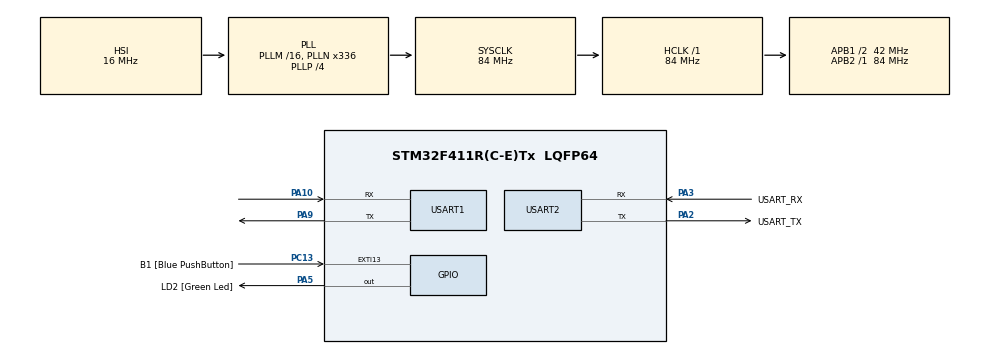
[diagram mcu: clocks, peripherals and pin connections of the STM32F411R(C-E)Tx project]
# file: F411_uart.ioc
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Mcu.Family=STM32F4
Mcu.Name=STM32F411R(C-E)Tx
Mcu.Package=LQFP64
NVIC.PriorityGroup=NVIC_PRIORITYGROUP_0
NVIC.USART1_IRQn=true\:0\:0\:false\:false\:true\:true\:true\:true
NVIC.USART2_IRQn=true\:0\:0\:false\:false\:true\:true\:true\:true
PA10.Mode=Asynchronous
PA10.Signal=USART1_RX
PA13.GPIO_Label=TMS
PA13.Mode=Serial_Wire
PA13.Signal=SYS_JTMS-SWDIO
PA14.GPIO_Label=TCK
PA14.Mode=Serial_Wire
PA14.Signal=SYS_JTCK-SWCLK
PA2.GPIO_Label=USART_TX
PA2.Mode=Asynchronous
PA2.Signal=USART2_TX
PA3.GPIO_Label=USART_RX
PA3.Mode=Asynchronous
PA3.Signal=USART2_RX
PA5.GPIO_Label=LD2 [Green Led]
PA5.Signal=GPIO_Output
PA9.Mode=Asynchronous
PA9.Signal=USART1_TX
PB3.GPIO_Label=SWO
PB3.Signal=SYS_JTDO-SWO
PC13-ANTI_TAMP.GPIO_Label=B1 [Blue PushButton]
PC13-ANTI_TAMP.GPIO_ModeDefaultEXTI=GPIO_MODE_IT_FALLING
PC13-ANTI_TAMP.Signal=GPXTI13
PC14-OSC32_IN.Mode=LSE-External-Oscillator
PC14-OSC32_IN.Signal=RCC_OSC32_IN
PC15-OSC32_OUT.Mode=LSE-External-Oscillator
PC15-OSC32_OUT.Signal=RCC_OSC32_OUT
PH0\ -\ OSC_IN.Mode=HSE-External-Clock-Source
PH0\ -\ OSC_IN.Signal=RCC_OSC_IN
PH1\ -\ OSC_OUT.Mode=HSE-External-Clock-Source
PH1\ -\ OSC_OUT.Signal=RCC_OSC_OUT
ProjectManager.HeapSize=0x200
ProjectManager.StackSize=0x400
ProjectManager.TargetToolchain=STM32CubeIDE
RCC.48MHZClocksFreq_Value=84000000
RCC.AHBFreq_Value=84000000
RCC.APB1CLKDivider=RCC_HCLK_DIV2
RCC.APB1Freq_Value=42000000
RCC.APB1TimFreq_Value=84000000
RCC.APB2Freq_Value=84000000
RCC.APB2TimFreq_Value=84000000
RCC.CortexFreq_Value=84000000
RCC.FLatency-AdvancedSettings=FLASH_LATENCY_2
RCC.HCLKFreq_Value=84000000
RCC.HSE_VALUE=8000000
RCC.HSI_VALUE=16000000
RCC.PLLN=336
RCC.PLLP=RCC_PLLP_DIV4
RCC.SYSCLKFreq_VALUE=84000000
RCC.SYSCLKSource=RCC_SYSCLKSOURCE_PLLCLK
RCC.VCOOutputFreq_Value=336000000
USART1.VirtualMode=VM_ASYNC
USART2.VirtualMode=VM_ASYNC
board=NUCLEO-F411RE

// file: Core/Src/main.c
/* USER CODE BEGIN Header */
/**
  ******************************************************************************
  * @file           : main.c
  * @brief          : Main program body
  ******************************************************************************
  * @attention
  *
  * Copyright (c) 2025 STMicroelectronics.
  * All rights reserved.
  *
  * This software is licensed under terms that can be found in the LICENSE file
  * in the root directory of this software component.
  * If no LICENSE file comes with this software, it is provided AS-IS.
  *
  ******************************************************************************
  */
/* USER CODE END Header */
#include "main.h"

/* USER CODE BEGIN Includes */
#include <stdio.h>
#include <string.h>
/* USER CODE END Includes */

/* USER CODE BEGIN PD */
/* ex2 파라미터
#define MAX_BUFFER_SIZE   128
uint8_t rx_data;
uint8_t rx_buffer[MAX_BUFFER_SIZE];
uint16_t rx_index = 0;

#define KEY_ENTER       '\r'
#define KEY_BACKSPACE   '\b'
#define KEY_DELETE      127

const uint8_t prompt[] = "NUCLEO-F411re >> ";
const uint8_t newline[] = "\r\n";
const uint8_t backspace_seq[] = "\b \b";
*/

#define MAX_BUFFER_SIZE 128
#define KEY_ENTER       '\r'
#define KEY_BACKSPACE   '\b'
#define KEY_DELETE      127
/* USER CODE END PD */

UART_HandleTypeDef huart1;
UART_HandleTypeDef huart2;

/* USER CODE BEGIN PV */
uint8_t rx_data[1];

// PC(USART2)로부터의 입력을 처리하기 위한 변수
uint8_t rx_data_pc;
uint8_t pc_rx_buffer[MAX_BUFFER_SIZE];
uint16_t pc_rx_index = 0;

// 다른 보드(USART1)로부터의 입력을 처리하기 위한 변수
uint8_t rx_data_board;
uint8_t board_rx_buffer[MAX_BUFFER_SIZE];
uint16_t board_rx_index = 0;
/* USER CODE END PV */

void SystemClock_Config(void);
static void MX_GPIO_Init(void);
static void MX_USART2_UART_Init(void);
static void MX_USART1_UART_Init(void);
/* USER CODE BEGIN PFP */
/* ex3
void HAL_UART_RxCpltCallback(UART_HandleTypeDef *huart);
int __io_putchar(int ch) {
    HAL_UART_Transmit(&huart2, (uint8_t *)&ch, 1, HAL_MAX_DELAY);
    return ch;
}
*/
#ifdef __GNUC__
#define PUTCHAR_PROTOTYPE int __io_putchar(int ch)
#else
#define PUTCHAR_PROTOTYPE int fputc(int ch, FILE *f)
#endif
/* USER CODE END PFP */

int main(void)
{

  /* MCU Configuration--------------------------------------------------------*/

  /* Reset of all peripherals, Initializes the Flash interface and the Systick. */
  HAL_Init();

  /* Configure the system clock */
  SystemClock_Config();

  /* Initialize all configured peripherals */
  MX_GPIO_Init();
  MX_USART2_UART_Init();
  MX_USART1_UART_Init();
  /* USER CODE BEGIN 2 */
  /* ex2 코드
  HAL_UART_Transmit(&huart2, prompt, sizeof(prompt), HAL_MAX_DELAY);
  */

  /* ex3 코드
  printf("\r\n--- Nucleo F411re LED Control ---\r\n");
  printf("  '1': Turn on LED\r\n");
  printf("  '2': Turn off LED\r\n");
  printf("----------------------------------\r\n");

  HAL_UART_Receive_IT(&huart2, rx_data, 1);
  */

  // PC 터미널(USART2)로 프롬프트 출력
  printf(">> ");
  // ★★★ 핵심 수정: 맨 처음 프롬프트가 바로 보이도록 버퍼를 비웁니다.
  fflush(stdout);

  // 각 UART 채널에 대해 수신 인터럽트 시작
  HAL_UART_Receive_IT(&huart2, &rx_data_pc, 1);
  HAL_UART_Receive_IT(&huart1, &rx_data_board, 1);

  /* USER CODE END 2 */

  /* Infinite loop */
  while (1)
  {

    /* USER CODE BEGIN 3 */
	  /* ex1 시작
	  printf("Hello from F411re!\r\n");
	  HAL_Delay(1000);
	  ex1 끝 */

	  /* ex2 시작
	  if (HAL_UART_Receive(&huart2, &rx_data, 1, HAL_MAX_DELAY) == HAL_OK)
	  {
		  // 1. 엔터 키 처리
	      if (rx_data == KEY_ENTER)
	      {
              HAL_UART_Transmit(&huart2, newline, sizeof(newline), HAL_MAX_DELAY);

	          // 수신된 문자열 다시 전송
	          HAL_UART_Transmit(&huart2, (uint8_t*)"Received: ", 10, HAL_MAX_DELAY);
	          HAL_UART_Transmit(&huart2, rx_buffer, rx_index, HAL_MAX_DELAY);
	          HAL_UART_Transmit(&huart2, newline, sizeof(newline), HAL_MAX_DELAY);

	          // 버퍼 초기화
	          memset(rx_buffer, 0, MAX_BUFFER_SIZE);
	          rx_index = 0;

	          // 프롬프트 출력
	          HAL_UART_Transmit(&huart2, prompt, sizeof(prompt), HAL_MAX_DELAY);
	      }
	      // 2. 백스페이스/Delete 처리
	      else if (rx_data == KEY_BACKSPACE || rx_data == KEY_DELETE)
	      {
	          if (rx_index > 0)
	          {
	              rx_index--;
	              HAL_UART_Transmit(&huart2, backspace_seq, sizeof(backspace_seq), HAL_MAX_DELAY);
	          }
	      }
	      // 3. 일반 문자 처리
	      else
	      {
	          if (rx_index < MAX_BUFFER_SIZE - 1)
	          {
	              rx_buffer[rx_index++] = rx_data;
	              HAL_UART_Transmit(&huart2, &rx_data, 1, HAL_MAX_DELAY);
	          }
	      }
	  }
	  ex2 끝 */
  }
  /* USER CODE END 3 */
}

void SystemClock_Config(void)
{
  RCC_OscInitTypeDef RCC_OscInitStruct = {0};
  RCC_ClkInitTypeDef RCC_ClkInitStruct = {0};

  /** Configure the main internal regulator output voltage
  */
  __HAL_RCC_PWR_CLK_ENABLE();
  __HAL_PWR_VOLTAGESCALING_CONFIG(PWR_REGULATOR_VOLTAGE_SCALE1);

  /** Initializes the RCC Oscillators according to the specified parameters
  * in the RCC_OscInitTypeDef structure.
  */
  RCC_OscInitStruct.OscillatorType = RCC_OSCILLATORTYPE_HSI;
  RCC_OscInitStruct.HSIState = RCC_HSI_ON;
  RCC_OscInitStruct.HSICalibrationValue = RCC_HSICALIBRATION_DEFAULT;
  RCC_OscInitStruct.PLL.PLLState = RCC_PLL_ON;
  RCC_OscInitStruct.PLL.PLLSource = RCC_PLLSOURCE_HSI;
  RCC_OscInitStruct.PLL.PLLM = 16;
  RCC_OscInitStruct.PLL.PLLN = 336;
  RCC_OscInitStruct.PLL.PLLP = RCC_PLLP_DIV4;
  RCC_OscInitStruct.PLL.PLLQ = 4;
  if (HAL_RCC_OscConfig(&RCC_OscInitStruct) != HAL_OK)
  {
    Error_Handler();
  }

  /** Initializes the CPU, AHB and APB buses clocks
  */
  RCC_ClkInitStruct.ClockType = RCC_CLOCKTYPE_HCLK|RCC_CLOCKTYPE_SYSCLK
                              |RCC_CLOCKTYPE_PCLK1|RCC_CLOCKTYPE_PCLK2;
  RCC_ClkInitStruct.SYSCLKSource = RCC_SYSCLKSOURCE_PLLCLK;
  RCC_ClkInitStruct.AHBCLKDivider = RCC_SYSCLK_DIV1;
  RCC_ClkInitStruct.APB1CLKDivider = RCC_HCLK_DIV2;
  RCC_ClkInitStruct.APB2CLKDivider = RCC_HCLK_DIV1;

  if (HAL_RCC_ClockConfig(&RCC_ClkInitStruct, FLASH_LATENCY_2) != HAL_OK)
  {
    Error_Handler();
  }
}

static void MX_USART1_UART_Init(void)
{

  huart1.Instance = USART1;
  huart1.Init.BaudRate = 115200;
  huart1.Init.WordLength = UART_WORDLENGTH_8B;
  huart1.Init.StopBits = UART_STOPBITS_1;
  huart1.Init.Parity = UART_PARITY_NONE;
  huart1.Init.Mode = UART_MODE_TX_RX;
  huart1.Init.HwFlowCtl = UART_HWCONTROL_NONE;
  huart1.Init.OverSampling = UART_OVERSAMPLING_16;
  if (HAL_UART_Init(&huart1) != HAL_OK)
  {
    Error_Handler();
  }

}

static void MX_USART2_UART_Init(void)
{

  huart2.Instance = USART2;
  huart2.Init.BaudRate = 115200;
  huart2.Init.WordLength = UART_WORDLENGTH_8B;
  huart2.Init.StopBits = UART_STOPBITS_1;
  huart2.Init.Parity = UART_PARITY_NONE;
  huart2.Init.Mode = UART_MODE_TX_RX;
  huart2.Init.HwFlowCtl = UART_HWCONTROL_NONE;
  huart2.Init.OverSampling = UART_OVERSAMPLING_16;
  if (HAL_UART_Init(&huart2) != HAL_OK)
  {
    Error_Handler();
  }

}

static void MX_GPIO_Init(void)
{
  GPIO_InitTypeDef GPIO_InitStruct = {0};

  /* GPIO Ports Clock Enable */
  __HAL_RCC_GPIOC_CLK_ENABLE();
  __HAL_RCC_GPIOH_CLK_ENABLE();
  __HAL_RCC_GPIOA_CLK_ENABLE();
  __HAL_RCC_GPIOB_CLK_ENABLE();

  /*Configure GPIO pin Output Level */
  HAL_GPIO_WritePin(LD2_GPIO_Port, LD2_Pin, GPIO_PIN_RESET);

  /*Configure GPIO pin : B1_Pin */
  GPIO_InitStruct.Pin = B1_Pin;
  GPIO_InitStruct.Mode = GPIO_MODE_IT_FALLING;
  GPIO_InitStruct.Pull = GPIO_NOPULL;
  HAL_GPIO_Init(B1_GPIO_Port, &GPIO_InitStruct);

  /*Configure GPIO pin : LD2_Pin */
  GPIO_InitStruct.Pin = LD2_Pin;
  GPIO_InitStruct.Mode = GPIO_MODE_OUTPUT_PP;
  GPIO_InitStruct.Pull = GPIO_NOPULL;
  GPIO_InitStruct.Speed = GPIO_SPEED_FREQ_LOW;
  HAL_GPIO_Init(LD2_GPIO_Port, &GPIO_InitStruct);

}

/* USER CODE BEGIN 4 */
// ex1-printf 함수의 출력을 USART2으로 재지정하는 함수입니다.
int _write(int file, char *ptr, int len)
{
  HAL_UART_Transmit(&huart2, (uint8_t*)ptr, len, HAL_MAX_DELAY);
  return len;
}

/* ex3-인터럽트 콜백함수
void HAL_UART_RxCpltCallback(UART_HandleTypeDef *huart)
{

    if (huart->Instance == USART2)
    {
      if (rx_data[0] == '1')
      {
        HAL_GPIO_WritePin(GPIOA, GPIO_PIN_5, GPIO_PIN_SET);
        printf("✅ LED is now ON.\r\n");
      }
      else if (rx_data[0] == '2')
      {
        HAL_GPIO_WritePin(GPIOA, GPIO_PIN_5, GPIO_PIN_RESET);
        printf("❌ LED is now OFF.\r\n");
      }
      else
      {
        printf("⚠️ Invalid input. Please enter '1' or '2'.\r\n");
      }

      HAL_UART_Receive_IT(&huart2, rx_data, 1);
    }
}
*/

/**
  * @brief  printf 함수 재정의
  */
PUTCHAR_PROTOTYPE
{
  HAL_UART_Transmit(&huart2, (uint8_t *)&ch, 1, HAL_MAX_DELAY);
  return ch;
}

void HAL_UART_RxCpltCallback(UART_HandleTypeDef *huart)
{
    // --- 경로 1: PC 터미널(USART2)로부터 명령어를 '입력'받는 경우 ---
    if (huart->Instance == USART2)
    {
        // 1-1. 엔터 키 처리
        if (rx_data_pc == KEY_ENTER)
        {
            if (pc_rx_index > 0)
            {
                // 다른 보드(USART3)로 완성된 명령어(버퍼 내용) 전송
                HAL_UART_Transmit(&huart1, pc_rx_buffer, pc_rx_index, HAL_MAX_DELAY);
                // 명령어 끝을 알리기 위해 newline 전송
                HAL_UART_Transmit(&huart1, (uint8_t*)"\r\n", 2, HAL_MAX_DELAY);
            }
            // 로컬 터미널 줄바꿈 및 버퍼 초기화
            printf("\r\n");
            memset(pc_rx_buffer, 0, MAX_BUFFER_SIZE);
            pc_rx_index = 0;
            // 프롬프트 재출력
            printf(">> ");
            fflush(stdout); // 프롬프트도 바로 보이게 하기 위해 추가
        }
        // 1-2. 백스페이스 키 처리
        else if (rx_data_pc == KEY_BACKSPACE || rx_data_pc == KEY_DELETE)
        {
            if (pc_rx_index > 0)
            {
                pc_rx_index--; // 버퍼에서 마지막 글자 제거
                printf("\b \b"); // 터미널에서 시각적으로 제거
                fflush(stdout); // 지우는 효과도 바로 보이게 하기 위해 추가
            }
        }
        // 1-3. 일반 문자 처리
        else
        {
            if (pc_rx_index < MAX_BUFFER_SIZE - 1)
            {
                printf("%c", rx_data_pc); // 로컬 에코
                fflush(stdout); // 한 글자씩 바로 터미널에 보이도록 버퍼 강제 비움
                pc_rx_buffer[pc_rx_index++] = rx_data_pc; // 버퍼에 저장
            }
        }
        // 다시 PC(USART2)로부터 1바이트 수신 대기
        HAL_UART_Receive_IT(&huart2, &rx_data_pc, 1);
    }

    // --- 경로 2: 다른 보드(USART3)로부터 명령어를 '수신'하는 경우 ---
    else if (huart->Instance == USART1)
    {
        // 2-1. 명령어의 끝(Enter)을 수신한 경우
        if (rx_data_board == '\r' || rx_data_board == '\n')
        {
            if (board_rx_index > 0)
            {
                // 수신된 명령어를 PC 터미널(USART2)에 출력
                printf("\r\n[Received: %s]\r\n", board_rx_buffer);

                // 버퍼 초기화 및 프롬프트 재출력
                memset(board_rx_buffer, 0, MAX_BUFFER_SIZE);
                board_rx_index = 0;
                printf(">> ");
                fflush(stdout);
            }
        }
        // 2-2. 명령어 내용을 한 글자씩 수신하여 버퍼에 저장하는 경우
        else
        {
            if (board_rx_index < MAX_BUFFER_SIZE - 1)
            {
                board_rx_buffer[board_rx_index++] = rx_data_board;
            }
        }
        // 다시 다른 보드(USART3)로부터 1바이트 수신 대기
        HAL_UART_Receive_IT(&huart1, &rx_data_board, 1);
    }
}
/* USER CODE END 4 */

void Error_Handler(void)
{
  __disable_irq();
  while (1)
  {
  }
}
